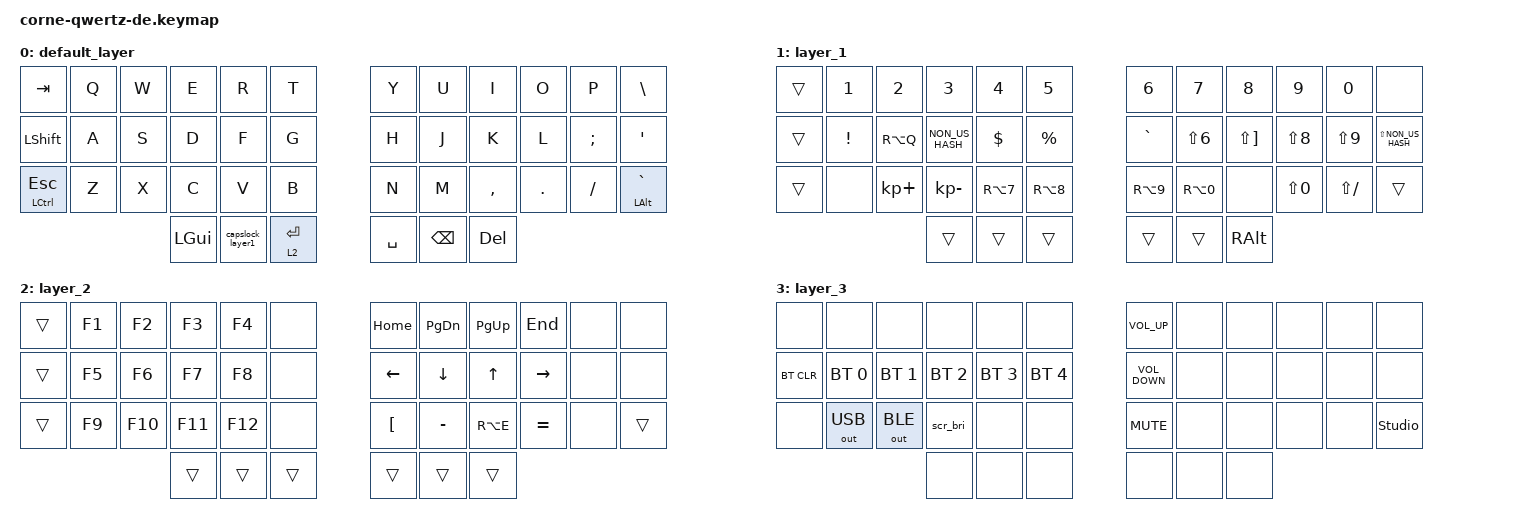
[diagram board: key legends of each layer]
// QWERTZ (German) layout for the corne, generated from the stock keymap.
// Layer 0 keys stay where they are (the computer's keyboard language decides what they type);
// the other layers type the same characters as the stock keymap. Extra keys:
//   layer 2, key 30: ü
//   layer 2, key 31: ß
//   layer 2, key 32: €
//   layer 2, key 33: ´
/*
 * Copyright (c) 2020 The ZMK Contributors
 *
 * SPDX-License-Identifier: MIT
 */

#include <behaviors.dtsi>
#include <dt-bindings/zmk/bt.h>
#include <dt-bindings/zmk/keys.h>
#include <dt-bindings/zmk/outputs.h>

// Wake-up key: top outer corner (Tab / \), row pin 4, column pin 21 on both halves.
#define TKL_WAKE_ROW 4
#define TKL_WAKE_COL 21
// Switch-off: Tab + Ctrl/Esc held together.
#define TKL_OFF_KEYS 0 24
#include "tkl_power.dtsi"
#include "tkl_brightness.dtsi"

/ {
    behaviors {
        backspace_delete: backspace_delete {
            compatible = "zmk,behavior-mod-morph";
            label = "BACKSPACE_DELETE";
            bindings = <&kp BACKSPACE>, <&kp DELETE>;

            #binding-cells = <0>;
            mods = <(MOD_LSFT)>;
        };

        capslock_layer1: capslock_layer1 {
            compatible = "zmk,behavior-tap-dance";
            label = "CAPSLOCK_LAYER1";
            #binding-cells = <0>;
            bindings = <&mo 1>, <&kp CAPSLOCK>;
        };
    };

    combos {
        compatible = "zmk,combos";

        mo_layer3 {
            bindings = <&mo 3>;
            key-positions = <37 38>;
        };

        layer-3-right {
            bindings = <&mo 3>;
            key-positions = <39 40>;
        };
    };

    keymap {
        compatible = "zmk,keymap";

        default_layer {

            bindings = <
&kp TAB           &kp Q  &kp W  &kp E     &kp R             &kp T          &kp Y      &kp U          &kp I       &kp O    &kp P          &kp BACKSLASH
&kp LEFT_SHIFT    &kp A  &kp S  &kp D     &kp F             &kp G          &kp H      &kp J          &kp K       &kp L    &kp SEMICOLON  &kp SINGLE_QUOTE
&mt LCTRL ESCAPE  &kp Z  &kp X  &kp C     &kp V             &kp B          &kp N      &kp M          &kp COMMA   &kp DOT  &kp FSLH       &mt LEFT_ALT GRAVE
                                &kp LGUI  &capslock_layer1  &lt 2 ENTER    &kp SPACE  &kp BACKSPACE  &kp DELETE
            >;
        };

        layer_1 {
            bindings = <
&trans  &kp NUMBER_1     &kp NUMBER_2  &kp NUMBER_3  &kp NUMBER_4    &kp N5              &kp NUMBER_6       &kp N7           &kp N8         &kp N9                &kp N0                 &none
&trans  &kp EXCLAMATION  &kp RA(Q)     &kp NON_US_HASH     &kp DOLLAR      &kp PERCENT         &kp GRAVE          &kp LS(N6)       &kp LS(RBKT)   &kp LS(N8)            &kp LS(N9)             &kp LS(NON_US_HASH)
&trans  &none            &kp KP_PLUS   &kp KP_MINUS  &kp RA(N7)      &kp RA(N8)          &kp RA(N9)         &kp RA(N0)       &none          &kp LS(N0)             &kp LS(FSLH)              &trans
                                       &trans        &trans          &trans              &trans             &trans           &kp RIGHT_ALT
            >;
        };

        layer_2 {
            bindings = <
&trans  &kp F1  &kp F2   &kp F3   &kp F4   &none     &kp HOME  &kp PAGE_DOWN  &kp PAGE_UP  &kp END    &none  &none
&trans  &kp F5  &kp F6   &kp F7   &kp F8   &none     &kp LEFT  &kp DOWN       &kp UP       &kp RIGHT  &none  &none
&trans  &kp F9  &kp F10  &kp F11  &kp F12  &none     &kp LBKT     &kp MINUS          &kp RA(E)        &kp EQUAL      &none  &trans
                         &trans   &trans   &trans    &trans    &trans         &trans
            >;
        };

        layer_3 {
            bindings = <
&none       &none         &none         &none         &none         &none           &kp C_VOLUME_UP    &none  &none  &none  &none  &none
&bt BT_CLR  &bt BT_SEL 0  &bt BT_SEL 1  &bt BT_SEL 2  &bt BT_SEL 3  &bt BT_SEL 4    &kp C_VOLUME_DOWN  &none  &none  &none  &none  &none
&none       &out OUT_USB  &out OUT_BLE  &scr_bri      &none         &none           &kp C_MUTE         &none  &none  &none  &none  &studio_unlock
                                        &none         &none         &none           &none              &none  &none
            >;
        };

        extra1 {
            status = "reserved";
        };

        extra2 {
            status = "reserved";
        };
    };
};
